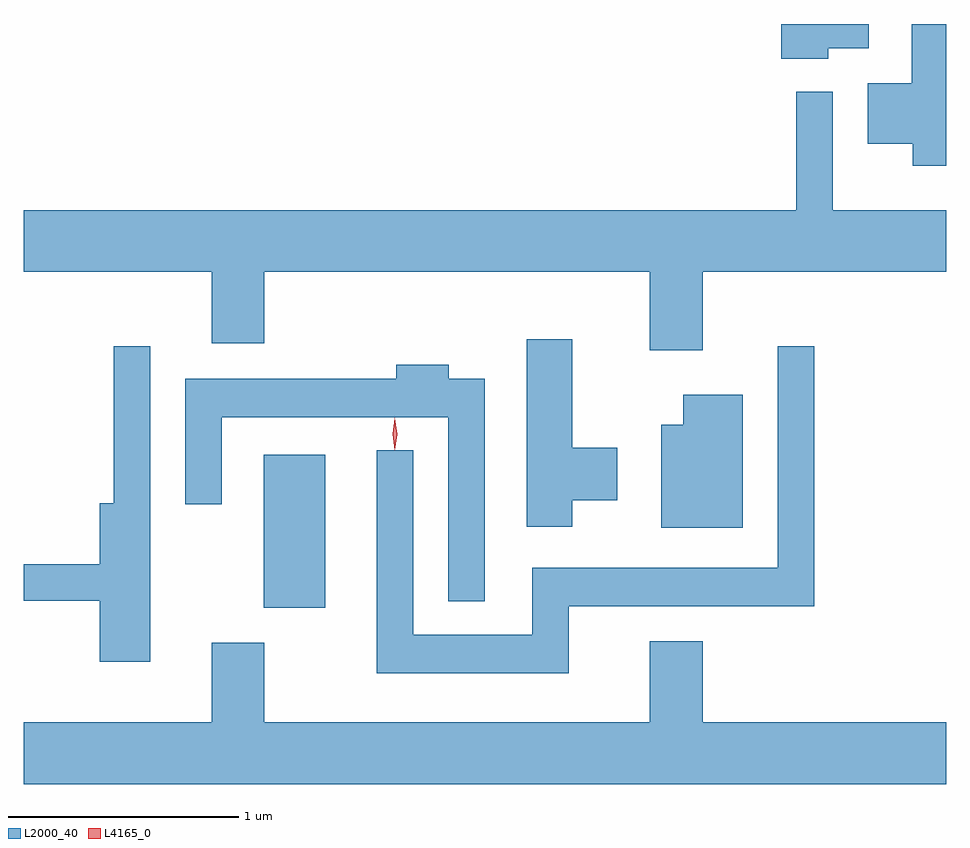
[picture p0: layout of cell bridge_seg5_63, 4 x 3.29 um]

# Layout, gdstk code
import gdstk
lib = gdstk.Library(unit=1e-6, precision=1e-09)
def R(c, l, rs):  # rectangles x0, y0, x1, y1
    for r in rs: c.add(gdstk.rectangle(r[:2], r[2:], *l))
def P(c, l, *ps):  # polygons
    for p in ps: c.add(gdstk.Polygon(p, *l))
L2000_40 = (2000, 40)
L4165_0 = (4165, 0)

bridge_seg5_63 = lib.new_cell('bridge_seg5_63')
R(bridge_seg5_63, L2000_40, [(1301.956,1475.321,1302.224,1475.984)])
P(bridge_seg5_63, L2000_40, [(1304.916,1477.851),(1304.766,1477.851),(1304.766,1477.594),(1304.576,1477.594),(1304.576,1477.331),(1304.771,1477.331),(1304.771,1477.236),(1304.916,1477.236)],
  [(1304.404,1477.746),(1304.579,1477.746),(1304.579,1477.851),(1304.201,1477.851),(1304.201,1477.701),(1304.404,1477.701)],
  [(1303.859,1476.776),(1304.916,1476.776),(1304.916,1477.044),(1304.424,1477.044),(1304.424,1477.558),(1304.266,1477.558),(1304.266,1477.044),(1300.916,1477.044),(1300.916,1476.776),(1301.731,1476.776),(1301.731,1476.466),(1301.959,1476.466),(1301.959,1476.776),(1303.631,1476.776),(1303.631,1476.436),(1303.859,1476.436)],
  [(1303.294,1475.786),(1303.489,1475.786),(1303.489,1476.014),(1303.294,1476.014),(1303.294,1476.484),(1303.096,1476.484),(1303.096,1475.671),(1303.294,1475.671)],
  [(1301.464,1476.453),(1301.306,1476.453),(1301.306,1475.774),(1301.246,1475.774),(1301.246,1475.509),(1300.916,1475.509),(1300.916,1475.351),(1301.246,1475.351),(1301.246,1475.086),(1301.464,1475.086)],
  [(1303.279,1475.326),(1304.344,1475.326),(1304.344,1476.453),(1304.186,1476.453),(1304.186,1475.494),(1303.121,1475.494),(1303.121,1475.204),(1302.604,1475.204),(1302.604,1476.003),(1302.446,1476.003),(1302.446,1475.036),(1303.279,1475.036)],
  [(1302.914,1476.314),(1302.759,1476.314),(1302.759,1476.374),(1302.531,1476.374),(1302.531,1476.314),(1301.616,1476.314),(1301.616,1475.768),(1301.774,1475.768),(1301.774,1476.146),(1302.756,1476.146),(1302.756,1475.348),(1302.914,1475.348)],
  [(1304.034,1476.244),(1303.776,1476.244),(1303.776,1476.114),(1303.681,1476.114),(1303.681,1475.666),(1304.034,1475.666)],
  [(1304.916,1474.824),(1303.859,1474.824),(1303.859,1475.174),(1303.631,1475.174),(1303.631,1474.824),(1301.959,1474.824),(1301.959,1475.169),(1301.731,1475.169),(1301.731,1474.824),(1300.916,1474.824),(1300.916,1474.556),(1304.916,1474.556)])
P(bridge_seg5_63, L4165_0, [(1302.524,1476.007),(1302.515,1476.074),(1302.524,1476.14),(1302.525,1476.141),(1302.525,1476.14),(1302.535,1476.074),(1302.525,1476.007),(1302.525,1476.007)],
  [(1302.524,1476.004),(1302.515,1476.073),(1302.524,1476.142),(1302.525,1476.143),(1302.525,1476.142),(1302.535,1476.073),(1302.525,1476.004),(1302.525,1476.004)])

lib.write_gds('bridge_seg5_63.gds')
